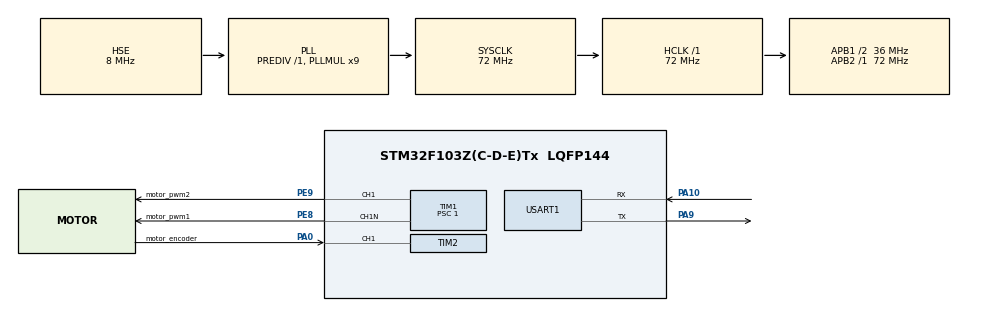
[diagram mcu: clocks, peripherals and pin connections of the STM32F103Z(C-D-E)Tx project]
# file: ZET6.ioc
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Mcu.Family=STM32F1
Mcu.Name=STM32F103Z(C-D-E)Tx
Mcu.Package=LQFP144
NVIC.PriorityGroup=NVIC_PRIORITYGROUP_4
NVIC.TIM2_IRQn=true\:0\:0\:false\:false\:true\:true
OSC_IN.Mode=HSE-External-Oscillator
OSC_IN.Signal=RCC_OSC_IN
OSC_OUT.Mode=HSE-External-Oscillator
OSC_OUT.Signal=RCC_OSC_OUT
PA0-WKUP.GPIO_Label=motor_encoder
PA0-WKUP.GPIO_PuPd=GPIO_PULLUP
PA0-WKUP.Signal=S_TIM2_CH1_ETR
PA10.Mode=Asynchronous
PA10.Signal=USART1_RX
PA9.Mode=Asynchronous
PA9.Signal=USART1_TX
PE8.GPIO_Label=motor_pwm1
PE8.Mode=PWM Generation1 CH1 CH1N
PE8.Signal=TIM1_CH1N
PE9.GPIO_Label=motor_pwm2
PE9.GPIO_Speed=GPIO_SPEED_FREQ_LOW
PE9.Signal=S_TIM1_CH1
ProjectManager.HeapSize=0x200
ProjectManager.StackSize=0x400
ProjectManager.TargetToolchain=MDK-ARM V5
RCC.AHBFreq_Value=72000000
RCC.APB1CLKDivider=RCC_HCLK_DIV2
RCC.APB1Freq_Value=36000000
RCC.APB1TimFreq_Value=72000000
RCC.APB2Freq_Value=72000000
RCC.APB2TimFreq_Value=72000000
RCC.HCLKFreq_Value=72000000
RCC.PLLMUL=RCC_PLL_MUL9
RCC.PLLSourceVirtual=RCC_PLLSOURCE_HSE
RCC.SYSCLKFreq_VALUE=72000000
RCC.SYSCLKSource=RCC_SYSCLKSOURCE_PLLCLK
RCC.USBFreq_Value=72000000
SH.S_TIM1_CH1.0=TIM1_CH1,PWM Generation1 CH1 CH1N
SH.S_TIM2_CH1_ETR.0=TIM2_CH1,Input_Capture1_from_TI1
TIM1.Channel-PWM\ Generation1\ CH1\ CH1N=TIM_CHANNEL_1
TIM1.Period=900
TIM1.Prescaler=1
TIM2.Channel-Input_Capture1_from_TI1=TIM_CHANNEL_1
TIM2.Period=0xFFFF
TIM2.Prescaler=71
USART1.VirtualMode=VM_ASYNC
VP_SYS_VS_ND.Mode=No_Debug
VP_TIM1_VS_ClockSourceINT.Mode=Internal
VP_TIM2_VS_ClockSourceINT.Mode=Internal
board=custom

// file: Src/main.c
/**
  ******************************************************************************
  * @file           : main.c
  * @brief          : Main program body
  ******************************************************************************
  ** This notice applies to any and all portions of this file
  * that are not between comment pairs USER CODE BEGIN and
  * USER CODE END. Other portions of this file, whether
  * inserted by the user or by software development tools
  * are owned by their respective copyright owners.
  *
  * COPYRIGHT(c) 2019 STMicroelectronics
  *
  * Redistribution and use in source and binary forms, with or without modification,
  * are permitted provided that the following conditions are met:
  *   1. Redistributions of source code must retain the above copyright notice,
  *      this list of conditions and the following disclaimer.
  *   2. Redistributions in binary form must reproduce the above copyright notice,
  *      this list of conditions and the following disclaimer in the documentation
  *      and/or other materials provided with the distribution.
  *   3. Neither the name of STMicroelectronics nor the names of its contributors
  *      may be used to endorse or promote products derived from this software
  *      without specific prior written permission.
  *
  * THIS SOFTWARE IS PROVIDED BY THE COPYRIGHT HOLDERS AND CONTRIBUTORS "AS IS"
  * AND ANY EXPRESS OR IMPLIED WARRANTIES, INCLUDING, BUT NOT LIMITED TO, THE
  * IMPLIED WARRANTIES OF MERCHANTABILITY AND FITNESS FOR A PARTICULAR PURPOSE ARE
  * DISCLAIMED. IN NO EVENT SHALL THE COPYRIGHT HOLDER OR CONTRIBUTORS BE LIABLE
  * FOR ANY DIRECT, INDIRECT, INCIDENTAL, SPECIAL, EXEMPLARY, OR CONSEQUENTIAL
  * DAMAGES (INCLUDING, BUT NOT LIMITED TO, PROCUREMENT OF SUBSTITUTE GOODS OR
  * SERVICES; LOSS OF USE, DATA, OR PROFITS; OR BUSINESS INTERRUPTION) HOWEVER
  * CAUSED AND ON ANY THEORY OF LIABILITY, WHETHER IN CONTRACT, STRICT LIABILITY,
  * OR TORT (INCLUDING NEGLIGENCE OR OTHERWISE) ARISING IN ANY WAY OUT OF THE USE
  * OF THIS SOFTWARE, EVEN IF ADVISED OF THE POSSIBILITY OF SUCH DAMAGE.
  *
  ******************************************************************************
  */
#include "main.h"
#include "stm32f1xx_hal.h"
#include "tim.h"
#include "usart.h"
#include "gpio.h"

/* USER CODE BEGIN Includes */
#include "motor.h"
#include "pid.h"

#include "stdio.h"
#ifdef __GNUC__
#define PUTCHAR_PROTOTYPE int __io_putchar(int ch)
#else
#define PUTCHAR_PROTOTYPE int fputc(int ch, FILE *f)
#endif /* __GNUC__ */
PUTCHAR_PROTOTYPE
{
	HAL_UART_Transmit(&huart1 , (uint8_t *)&ch, 1, 0xFFFF);
	return ch;
}

/* USER CODE END Includes */

/* USER CODE BEGIN PV */
/* Private variables ---------------------------------------------------------*/

/* USER CODE END PV */

void SystemClock_Config(void);

/* USER CODE BEGIN PFP */
/* Private function prototypes -----------------------------------------------*/

__IO uint16_t time_count=0;        // 时间计数，每1ms增加一(与滴定时器频率有关)
__IO uint32_t CaptureNumber=0;     // 输入捕获数
__IO uint8_t  start_flag=0;
__IO double encoder_speed=0;
__IO uint16_t PWM_Duty;

/* USER CODE END PFP */

int main(void)
{

  /* MCU Configuration----------------------------------------------------------*/

  /* Reset of all peripherals, Initializes the Flash interface and the Systick. */
  HAL_Init();

  /* Configure the system clock */
  SystemClock_Config();

  /* Initialize all configured peripherals */
  MX_GPIO_Init();
  MX_TIM1_Init();
  MX_TIM2_Init();
  MX_USART1_UART_Init();
  /* USER CODE BEGIN 2 */

	Motor_Init();
	HAL_TIM_Base_Start(&htim1);
	HAL_TIM_Base_Start(&htim2);
	HAL_TIM_IC_Start_IT(&htim2,TIM_CHANNEL_1);
	PID_Init(&Motor_SpeedPID,PID_Motor_KP,PID_Motor_KI,PID_Motor_KD);

	start_flag=1;
	printf("增量式PID算法控制电机旋转\r\n");

  /* USER CODE END 2 */

  /* Infinite loop */
  /* USER CODE BEGIN WHILE */

	PID_SetPoint(&Motor_SpeedPID, 200);

  while (1)
  {

  /* USER CODE END WHILE */

  }

}

void SystemClock_Config(void)
{

  RCC_OscInitTypeDef RCC_OscInitStruct;
  RCC_ClkInitTypeDef RCC_ClkInitStruct;

    /**Initializes the CPU, AHB and APB busses clocks
    */
  RCC_OscInitStruct.OscillatorType = RCC_OSCILLATORTYPE_HSE;
  RCC_OscInitStruct.HSEState = RCC_HSE_ON;
  RCC_OscInitStruct.HSEPredivValue = RCC_HSE_PREDIV_DIV1;
  RCC_OscInitStruct.HSIState = RCC_HSI_ON;
  RCC_OscInitStruct.PLL.PLLState = RCC_PLL_ON;
  RCC_OscInitStruct.PLL.PLLSource = RCC_PLLSOURCE_HSE;
  RCC_OscInitStruct.PLL.PLLMUL = RCC_PLL_MUL9;
  if (HAL_RCC_OscConfig(&RCC_OscInitStruct) != HAL_OK)
  {
    _Error_Handler(__FILE__, __LINE__);
  }

    /**Initializes the CPU, AHB and APB busses clocks
    */
  RCC_ClkInitStruct.ClockType = RCC_CLOCKTYPE_HCLK|RCC_CLOCKTYPE_SYSCLK
                              |RCC_CLOCKTYPE_PCLK1|RCC_CLOCKTYPE_PCLK2;
  RCC_ClkInitStruct.SYSCLKSource = RCC_SYSCLKSOURCE_PLLCLK;
  RCC_ClkInitStruct.AHBCLKDivider = RCC_SYSCLK_DIV1;
  RCC_ClkInitStruct.APB1CLKDivider = RCC_HCLK_DIV2;
  RCC_ClkInitStruct.APB2CLKDivider = RCC_HCLK_DIV1;

  if (HAL_RCC_ClockConfig(&RCC_ClkInitStruct, FLASH_LATENCY_2) != HAL_OK)
  {
    _Error_Handler(__FILE__, __LINE__);
  }

    /**Configure the Systick interrupt time
    */
  HAL_SYSTICK_Config(HAL_RCC_GetHCLKFreq()/1000);

    /**Configure the Systick
    */
  HAL_SYSTICK_CLKSourceConfig(SYSTICK_CLKSOURCE_HCLK);

  /* SysTick_IRQn interrupt configuration */
  HAL_NVIC_SetPriority(SysTick_IRQn, 0, 0);
}

/* USER CODE BEGIN 4 */

/**
  * 函数功能: 系统滴答定时器中断回调函数
  * 输入参数: 无
  * 返 回 值: 无
  * 说    明: 每发生一次滴答定时器中断进入该回调函数一次
  */
void HAL_SYSTICK_Callback(void)
{
  if(start_flag) // 等待脉冲输出后才开始计时
  {
    time_count++;         // 每1ms自动增一
    if(time_count==200)    																													//200ms
    {
      __IO uint32_t count;
      __IO int para;
      __IO double cal;

      /* 得到编码器计数值，数值越大说明速度越大 */
      count=CaptureNumber;
      CaptureNumber=0;    // 清零，从零开始计数

      /* 计数得到增量式PID的增量数值 */
      para=Inc_PID_Calc(&Motor_SpeedPID,count);

      /* 根据增量数值调整当前电机速度 */
      if((para<-4)||(para>4)) // 不做 PID 调整，避免误差较小时频繁调节引起震荡。
      {
        PWM_Duty +=para/10;  																																		//400
      }
      if(PWM_Duty>899)PWM_Duty=899;

      // 11：编码器线数(转速一圈输出脉冲数)
      // 34：电机减数比，内部电机转动圈数与电机输出轴转动圈数比，即减速齿轮比
			printf("\n差值电机速度->	%d			目标速度->	%d			电机速度->	%d		 pid计算值->  %d     新的占空比->	%d\r\n",count-Motor_SpeedPID.SetPoint,Motor_SpeedPID.SetPoint,count,para,PWM_Duty);
//      printf("\n设定目标速度 ->%d个脉冲     ",sptr->SetPoint);
//      printf("当前电机速度-> %d个脉冲\n     ",count);
//			printf("差值电机速度-> %d个脉冲\n     ",count-sptr->SetPoint);
//      printf("增量式PID算法计数结果值：%d   设置新的占空比为：%d\r\n",para,PWM_Duty);
//
			Set_Pwm(PWM_Duty);
      time_count=0;
    }
  }
}

void HAL_TIM_IC_CaptureCallback(TIM_HandleTypeDef *htim)
{
	if(htim == &(htim2))
	{
		CaptureNumber++;
	}

}

/* USER CODE END 4 */

void _Error_Handler(char *file, int line)
{
  while(1)
  {
  }
}

/************************ (C) COPYRIGHT STMicroelectronics *****END OF FILE****/
